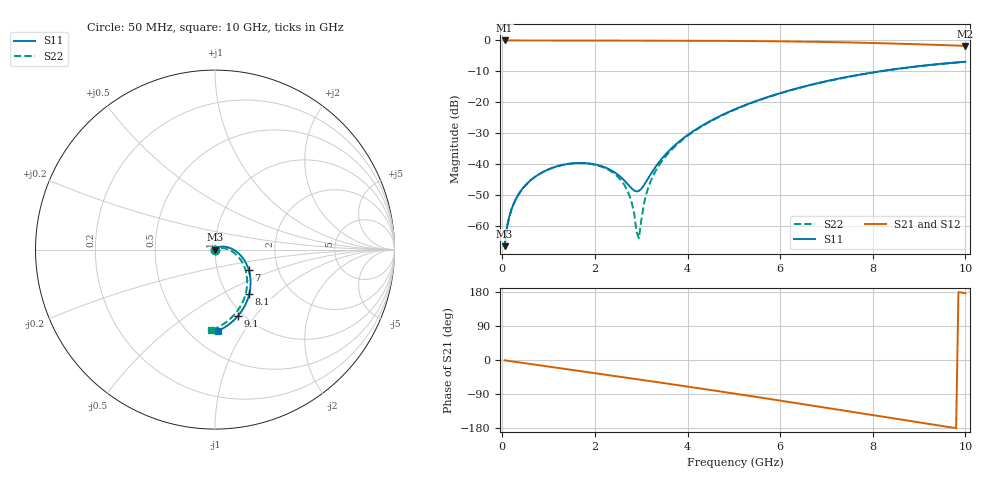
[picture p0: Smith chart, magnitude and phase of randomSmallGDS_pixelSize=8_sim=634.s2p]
! freq	dB(S11)	phase(S11)	dB(S12)	phase(S12)
!  dB(S21)	phase(S21)	dB(S22)	phase(S22)
!S-par simulation data
#  GHz  S  DB  R 50
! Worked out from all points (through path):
!   200 points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, 50 MHz to 10 GHz, reference 50 ohm
!   highest |S21| = 0.00 dB at 50 MHz (marker M1); lowest = -1.7 dB at 10 GHz (marker M2)
!   group delay of S21, straight-line fit = 51.2 ps
!   lowest |S11| = -66.6 dB at 50 MHz (marker M3), VSWR 1.00, Z = 50 - j0.0467 ohm
!   |S11| at or under -10 dB: start of sweep to 8.15 GHz
!   |S22| runs from -66.6 to -6.9 dB; largest |S21 - S12| = 0
!   S11 on the Smith chart (normalised r, x): 50 MHz: 1.00, -0.00; 7 GHz: 1.42, -0.34; 8.1 GHz: 1.26, -0.69; 9.1 GHz: 0.94, -0.82; 10 GHz: 0.68, -0.77
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0.05  -66.61 -87.1  -0.00 -0.9  -0.00 -0.9  -66.60 -87.0
0.1  -60.61 -90.1  -0.00 -1.8  -0.00 -1.8  -60.60 -89.8
0.2  -54.63 -93.1  -0.00 -3.5  -0.00 -3.5  -54.62 -92.5
0.5  -46.90 -99.8  -0.01 -8.7  -0.01 -8.7  -46.89 -98.3
1.05  -41.43 -111.6  -0.02 -18.3  -0.02 -18.3  -41.43 -108.1
1.75  -39.68 -128.1  -0.04 -30.4  -0.04 -30.4  -39.73 -120.2
2.25  -41.29 -144.1  -0.04 -39.1  -0.04 -39.1  -41.53 -128.3
2.6  -44.83 -165.6  -0.05 -45.3  -0.05 -45.3  -45.96 -132.5
2.8  -48.00 164.7  -0.06 -48.8  -0.06 -48.8  -52.75 -130.5
2.9  -48.90 138.8  -0.06 -50.5  -0.06 -50.5  -62.01 -105.2
2.95  -48.71 124.2  -0.06 -51.4  -0.06 -51.4  -64.08 -34.6
3.05  -47.07 98.0  -0.06 -53.2  -0.06 -53.2  -53.53 23.6
3.1  -45.89 87.8  -0.06 -54.1  -0.06 -54.1  -50.22 26.6
3.4  -39.12 55.7  -0.07 -59.4  -0.07 -59.4  -40.07 26.7
4.05  -30.12 30.9  -0.10 -71.0  -0.10 -71.0  -30.35 16.8
5.05  -22.11 8.0  -0.16 -89.3  -0.16 -89.3  -22.21 -0.7
6.7  -14.22 -25.1  -0.42 -120.5  -0.42 -120.5  -14.28 -31.2
7  -13.19 -31.0  -0.49 -126.2  -0.49 -126.2  -13.24 -36.8
8.1  -10.12 -52.3  -0.85 -147.5  -0.85 -147.5  -10.17 -57.6
8.35  -9.56 -57.0  -0.96 -152.3  -0.96 -152.3  -9.61 -62.3
9.1  -8.13 -71.2  -1.29 -166.7  -1.29 -166.7  -8.19 -76.3
10  -6.89 -87.6  -1.75 176.3  -1.75 176.3  -6.94 -92.8
